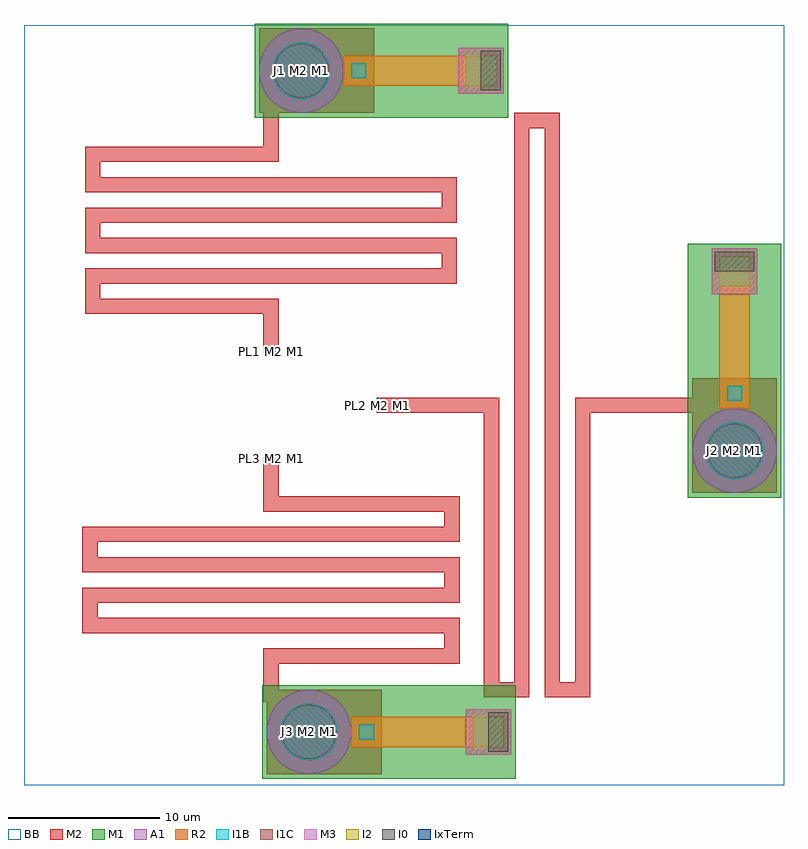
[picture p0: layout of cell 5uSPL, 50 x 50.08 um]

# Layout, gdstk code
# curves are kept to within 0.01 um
from math import pi, radians
import gdstk
lib = gdstk.Library(unit=1e-6, precision=1e-09)
def R(c, l, rs):  # rectangles x0, y0, x1, y1
    for r in rs: c.add(gdstk.rectangle(r[:2], r[2:], *l))
def P(c, l, *ps):  # polygons
    for p in ps: c.add(gdstk.Polygon(p, *l))
M1 = (1, 0)
BB = (1, 3)
I1B = (3, 0)
I1C = (4, 0)
A1 = (5, 0)
M2 = (6, 0)
I2 = (8, 0)
R2 = (9, 0)
M3 = (10, 0)
I0 = (31, 0)
IxTerm = (63, 0)

jj_24 = lib.new_cell('JJ$24')
R(jj_24, M1, [(-3.079,-13.605,3.079,3.079)])
R(jj_24, I1B, [(-1,-12.805,1,-10.805), (-0.5,-4.279,0.5,-3.279)])
P(jj_24, I1B, [(0,-1.873),(-0.365,-1.837),(-0.717,-1.731),(-1.041,-1.558),(-1.325,-1.325),(-1.558,-1.041),(-1.731,-0.717),(-1.837,-0.365),(-1.873,0),(-1.837,0.365),(-1.731,0.717),(-1.558,1.041),(-1.325,1.325),(-1.041,1.558),(-0.717,1.731),(-0.365,1.837),(0,1.873),(0.365,1.837),(0.717,1.731),(1.041,1.558),(1.325,1.325),(1.558,1.041),(1.731,0.717),(1.837,0.365),(1.873,0),(1.837,-0.365),(1.731,-0.717),(1.558,-1.041),(1.325,-1.325),(1.041,-1.558),(0.717,-1.731),(0.365,-1.837)])
P(jj_24, I1C, [(0,-1.784),(-0.348,-1.75),(-0.683,-1.648),(-0.991,-1.483),(-1.262,-1.262),(-1.483,-0.991),(-1.648,-0.683),(-1.75,-0.348),(-1.784,0),(-1.75,0.348),(-1.648,0.683),(-1.483,0.991),(-1.262,1.262),(-0.991,1.483),(-0.683,1.648),(-0.348,1.75),(0,1.784),(0.348,1.75),(0.683,1.648),(0.991,1.483),(1.262,1.262),(1.483,0.991),(1.648,0.683),(1.75,0.348),(1.784,0),(1.75,-0.348),(1.648,-0.683),(1.483,-0.991),(1.262,-1.262),(0.991,-1.483),(0.683,-1.648),(0.348,-1.75)])
P(jj_24, A1, [(0,-2.78),(-0.272,-2.767),(-0.542,-2.727),(-0.807,-2.66),(-1.064,-2.568),(-1.31,-2.452),(-1.544,-2.311),(-1.764,-2.149),(-1.966,-1.966),(-2.149,-1.764),(-2.311,-1.544),(-2.452,-1.31),(-2.568,-1.064),(-2.66,-0.807),(-2.727,-0.542),(-2.767,-0.272),(-2.78,0),(-2.767,0.272),(-2.727,0.542),(-2.66,0.807),(-2.568,1.064),(-2.452,1.31),(-2.311,1.544),(-2.149,1.764),(-1.966,1.966),(-1.764,2.149),(-1.544,2.311),(-1.31,2.452),(-1.064,2.568),(-0.807,2.66),(-0.542,2.727),(-0.272,2.767),(0,2.78),(0.272,2.767),(0.542,2.727),(0.807,2.66),(1.064,2.568),(1.31,2.452),(1.544,2.311),(1.764,2.149),(1.966,1.966),(2.149,1.764),(2.311,1.544),(2.452,1.31),(2.568,1.064),(2.66,0.807),(2.727,0.542),(2.767,0.272),(2.78,0),(2.767,-0.273),(2.727,-0.542),(2.66,-0.807),(2.568,-1.064),(2.452,-1.31),(2.311,-1.544),(2.149,-1.764),(1.966,-1.966),(1.764,-2.149),(1.544,-2.311),(1.31,-2.452),(1.064,-2.568),(0.807,-2.66),(0.542,-2.727),(0.272,-2.767)])
R(jj_24, M2, [(-1.5,-13.305,1.5,-10.305), (-2.779,-4.779,2.779,-2.779), (-2.779,-2.779,2.779,2.779)])
R(jj_24, I2, [(-1,-12.805,1,-10.805)])
R(jj_24, M3, [(-1.5,-13.305,1.5,-10.305)])
R(jj_24, I0, [(-1.3,-13.105,1.3,-11.805)])
jj_24.add(gdstk.FlexPath([(0,-2.779),(0,-11.805)], 2, ends="flush", simple_path=True, layer=9, datatype=0))  # R2

meanderinductor_37 = lib.new_cell('MeanderInductor$37')
meanderinductor_37.add(gdstk.FlexPath([(-10.5,0),(-3,0),(-3,18.727),(-1,18.727),(-1,-18.727),(1,-18.727),(1,18.727),(3,18.727),(3,0),(10.5,0)], 1, ends="flush", simple_path=True, layer=6, datatype=0))  # M2

meanderinductor_43 = lib.new_cell('MeanderInductor$43')
meanderinductor_43.add(gdstk.FlexPath([(-8,0),(-5,0),(-5,11.913),(-3,11.913),(-3,-11.913),(-1,-11.913),(-1,11.913),(1,11.913),(1,-11.913),(3,-11.913),(3,11.913),(5,11.913),(5,0),(8,0)], 1, ends="flush", simple_path=True, layer=6, datatype=0))  # M2

meanderinductor_41 = lib.new_cell('MeanderInductor$41')
meanderinductor_41.add(gdstk.FlexPath([(-8,0),(-5,0),(-5,11.736),(-3,11.736),(-3,-11.736),(-1,-11.736),(-1,11.736),(1,11.736),(1,-11.736),(3,-11.736),(3,11.736),(5,11.736),(5,0),(8,0)], 1, ends="flush", simple_path=True, layer=6, datatype=0))  # M2

jj_34 = lib.new_cell('JJ$34')
R(jj_34, M1, [(-3.079,-13.605,3.079,3.079)])
R(jj_34, I1B, [(-1,-12.805,1,-10.805), (-0.5,-4.279,0.5,-3.279)])
P(jj_34, I1B, [(0,-1.873),(-0.365,-1.837),(-0.717,-1.731),(-1.041,-1.558),(-1.325,-1.325),(-1.558,-1.041),(-1.731,-0.717),(-1.837,-0.365),(-1.873,0),(-1.837,0.365),(-1.731,0.717),(-1.558,1.041),(-1.325,1.325),(-1.041,1.558),(-0.717,1.731),(-0.365,1.837),(0,1.873),(0.365,1.837),(0.717,1.731),(1.041,1.558),(1.325,1.325),(1.558,1.041),(1.731,0.717),(1.837,0.365),(1.873,0),(1.837,-0.365),(1.731,-0.717),(1.558,-1.041),(1.325,-1.325),(1.041,-1.558),(0.717,-1.731),(0.365,-1.837)])
P(jj_34, I1C, [(0,-1.784),(-0.348,-1.75),(-0.683,-1.648),(-0.991,-1.483),(-1.262,-1.262),(-1.483,-0.991),(-1.648,-0.683),(-1.75,-0.348),(-1.784,0),(-1.75,0.348),(-1.648,0.683),(-1.483,0.991),(-1.262,1.262),(-0.991,1.483),(-0.683,1.648),(-0.348,1.75),(0,1.784),(0.348,1.75),(0.683,1.648),(0.991,1.483),(1.262,1.262),(1.483,0.991),(1.648,0.683),(1.75,0.348),(1.784,0),(1.75,-0.348),(1.648,-0.683),(1.483,-0.991),(1.262,-1.262),(0.991,-1.483),(0.683,-1.648),(0.348,-1.75)])
P(jj_34, A1, [(0,-2.78),(-0.272,-2.767),(-0.542,-2.727),(-0.807,-2.66),(-1.064,-2.568),(-1.31,-2.452),(-1.544,-2.311),(-1.764,-2.149),(-1.966,-1.966),(-2.149,-1.764),(-2.311,-1.544),(-2.452,-1.31),(-2.568,-1.064),(-2.66,-0.807),(-2.727,-0.542),(-2.767,-0.272),(-2.78,0),(-2.767,0.272),(-2.727,0.542),(-2.66,0.807),(-2.568,1.064),(-2.452,1.31),(-2.311,1.544),(-2.149,1.764),(-1.966,1.966),(-1.764,2.149),(-1.544,2.311),(-1.31,2.452),(-1.064,2.568),(-0.807,2.66),(-0.542,2.727),(-0.272,2.767),(0,2.78),(0.272,2.767),(0.542,2.727),(0.807,2.66),(1.064,2.568),(1.31,2.452),(1.544,2.311),(1.764,2.149),(1.966,1.966),(2.149,1.764),(2.311,1.544),(2.452,1.31),(2.568,1.064),(2.66,0.807),(2.727,0.542),(2.767,0.272),(2.78,0),(2.767,-0.273),(2.727,-0.542),(2.66,-0.807),(2.568,-1.064),(2.452,-1.31),(2.311,-1.544),(2.149,-1.764),(1.966,-1.966),(1.764,-2.149),(1.544,-2.311),(1.31,-2.452),(1.064,-2.568),(0.807,-2.66),(0.542,-2.727),(0.272,-2.767)])
R(jj_34, M2, [(-1.5,-13.305,1.5,-10.305), (-2.779,-4.779,2.779,-2.779), (-2.779,-2.779,2.779,2.779)])
R(jj_34, I2, [(-1,-12.805,1,-10.805)])
R(jj_34, M3, [(-1.5,-13.305,1.5,-10.305)])
R(jj_34, I0, [(-1.3,-13.105,1.3,-11.805)])
jj_34.add(gdstk.FlexPath([(0,-2.779),(0,-11.805)], 2, ends="flush", simple_path=True, layer=9, datatype=0))  # R2

c_5uspl = lib.new_cell('5uSPL')
R(c_5uspl, BB, [(-23.25,-25,26.75,25)])
c_5uspl.add(gdstk.FlexPath([(-7.5,3.5),(-6.5,3.5),(-6.5,3.5)], 0.1, ends="flush", simple_path=True, layer=63, datatype=0))  # IxTerm
c_5uspl.add(gdstk.FlexPath([(0,0.5),(0,-0.5)], 0.1, ends="flush", simple_path=True, layer=63, datatype=0))  # IxTerm
c_5uspl.add(gdstk.FlexPath([(-6.5,-3.5),(-7.5,-3.5)], 0.1, ends="flush", simple_path=True, layer=63, datatype=0))  # IxTerm
c_5uspl.add(gdstk.Reference(jj_24, (23.5,-3), rotation=pi))
c_5uspl.add(gdstk.Reference(jj_24, (-4.5,-21.5), rotation=pi/2))
c_5uspl.add(gdstk.Reference(meanderinductor_37, (10.5,0), rotation=pi))
c_5uspl.add(gdstk.Reference(meanderinductor_43, (-7,-11.5), rotation=3*pi/2))
c_5uspl.add(gdstk.Reference(meanderinductor_41, (-7,11.5), rotation=3*pi/2, x_reflection=True))
c_5uspl.add(gdstk.Reference(jj_34, (-5,22), rotation=pi/2))
c_5uspl.add(gdstk.Label('J1 M2 M1', (-5,22), layer=64, texttype=0))
c_5uspl.add(gdstk.Label('J2 M2 M1', (23.5,-3), layer=64, texttype=0))
c_5uspl.add(gdstk.Label('J3 M2 M1', (-4.5,-21.5), layer=64, texttype=0))
c_5uspl.add(gdstk.Label('PL1 M2 M1', (-7,3.5), layer=64, texttype=0))
c_5uspl.add(gdstk.Label('PL2 M2 M1', (0,0), layer=64, texttype=0))
c_5uspl.add(gdstk.Label('PL3 M2 M1', (-7,-3.5), layer=64, texttype=0))

lib.write_gds('5uSPL.gds')
